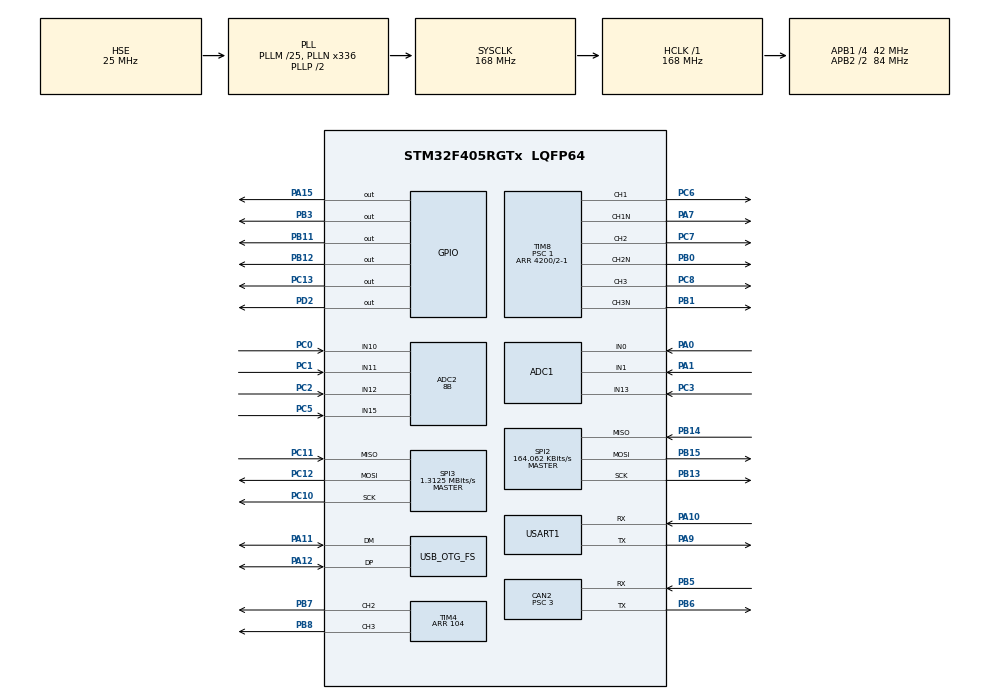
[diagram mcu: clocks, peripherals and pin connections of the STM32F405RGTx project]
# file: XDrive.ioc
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ADC1.Channel-0\#ChannelRegularConversion=ADC_CHANNEL_13
ADC1.Channel-1\#ChannelRegularConversion=ADC_CHANNEL_0
ADC1.Channel-2\#ChannelRegularConversion=ADC_CHANNEL_1
ADC1.ContinuousConvMode=DISABLE
ADC1.DMAContinuousRequests=ENABLE
ADC1.ExternalTrigConv=ADC_EXTERNALTRIGCONV_T8_TRGO
ADC1.ExternalTrigConvEdge=ADC_EXTERNALTRIGCONVEDGE_FALLING
ADC1.InjNumberOfConversion=0
ADC1.NbrOfConversion=3
ADC1.NbrOfConversionFlag=1
ADC1.Rank-0\#ChannelRegularConversion=1
ADC1.Rank-1\#ChannelRegularConversion=2
ADC1.Rank-2\#ChannelRegularConversion=3
ADC1.SamplingTime-0\#ChannelRegularConversion=ADC_SAMPLETIME_3CYCLES
ADC1.SamplingTime-1\#ChannelRegularConversion=ADC_SAMPLETIME_3CYCLES
ADC1.SamplingTime-2\#ChannelRegularConversion=ADC_SAMPLETIME_3CYCLES
ADC1.master=1
ADC2.Channel-0\#ChannelRegularConversion=ADC_CHANNEL_10
ADC2.Channel-1\#ChannelRegularConversion=ADC_CHANNEL_11
ADC2.Channel-2\#ChannelRegularConversion=ADC_CHANNEL_12
ADC2.Channel-3\#ChannelRegularConversion=ADC_CHANNEL_15
ADC2.ClockPrescaler=ADC_CLOCK_SYNC_PCLK_DIV4
ADC2.ContinuousConvMode=DISABLE
ADC2.DMAContinuousRequests=ENABLE
ADC2.NbrOfConversion=4
ADC2.NbrOfConversionFlag=1
ADC2.Rank-0\#ChannelRegularConversion=1
ADC2.Rank-1\#ChannelRegularConversion=2
ADC2.Rank-2\#ChannelRegularConversion=3
ADC2.Rank-3\#ChannelRegularConversion=4
ADC2.Resolution=ADC_RESOLUTION_8B
ADC2.SamplingTime-0\#ChannelRegularConversion=ADC_SAMPLETIME_3CYCLES
ADC2.SamplingTime-1\#ChannelRegularConversion=ADC_SAMPLETIME_3CYCLES
ADC2.SamplingTime-2\#ChannelRegularConversion=ADC_SAMPLETIME_3CYCLES
ADC2.SamplingTime-3\#ChannelRegularConversion=ADC_SAMPLETIME_3CYCLES
ADC2.ScanConvMode=ENABLE
CAN2.ABOM=DISABLE
CAN2.AWUM=DISABLE
CAN2.BS1=CAN_BS1_9TQ
CAN2.BS2=CAN_BS2_4TQ
CAN2.CalculateBaudRate=1000000
CAN2.CalculateTimeBit=1000
CAN2.CalculateTimeQuantum=71.42857142857143
CAN2.Mode=CAN_MODE_NORMAL
CAN2.Prescaler=3
CAN2.TXFP=DISABLE
Dma.ADC1.2.Direction=DMA_PERIPH_TO_MEMORY
Dma.ADC1.2.FIFOMode=DMA_FIFOMODE_DISABLE
Dma.ADC1.2.Instance=DMA2_Stream0
Dma.ADC1.2.MemDataAlignment=DMA_MDATAALIGN_HALFWORD
Dma.ADC1.2.MemInc=DMA_MINC_ENABLE
Dma.ADC1.2.Mode=DMA_CIRCULAR
Dma.ADC1.2.PeriphDataAlignment=DMA_PDATAALIGN_HALFWORD
Dma.ADC1.2.PeriphInc=DMA_PINC_DISABLE
Dma.ADC1.2.Priority=DMA_PRIORITY_HIGH
Dma.ADC2.7.Direction=DMA_PERIPH_TO_MEMORY
Dma.ADC2.7.FIFOMode=DMA_FIFOMODE_DISABLE
Dma.ADC2.7.Instance=DMA2_Stream2
Dma.ADC2.7.MemDataAlignment=DMA_MDATAALIGN_BYTE
Dma.ADC2.7.MemInc=DMA_MINC_ENABLE
Dma.ADC2.7.Mode=DMA_NORMAL
Dma.ADC2.7.PeriphDataAlignment=DMA_PDATAALIGN_BYTE
Dma.ADC2.7.PeriphInc=DMA_PINC_DISABLE
Dma.ADC2.7.Priority=DMA_PRIORITY_LOW
Dma.Request0=USART1_TX
Dma.Request1=USART1_RX
Dma.Request2=ADC1
Dma.Request3=SPI3_RX
Dma.Request4=SPI3_TX
Dma.Request5=TIM4_CH2
Dma.Request6=TIM4_CH3
Dma.Request7=ADC2
Dma.SPI3_RX.3.Direction=DMA_PERIPH_TO_MEMORY
Dma.SPI3_RX.3.FIFOMode=DMA_FIFOMODE_DISABLE
Dma.SPI3_RX.3.Instance=DMA1_Stream0
Dma.SPI3_RX.3.MemDataAlignment=DMA_MDATAALIGN_HALFWORD
Dma.SPI3_RX.3.MemInc=DMA_MINC_ENABLE
Dma.SPI3_RX.3.Mode=DMA_NORMAL
Dma.SPI3_RX.3.PeriphDataAlignment=DMA_PDATAALIGN_HALFWORD
Dma.SPI3_RX.3.PeriphInc=DMA_PINC_DISABLE
Dma.SPI3_RX.3.Priority=DMA_PRIORITY_HIGH
Dma.SPI3_TX.4.Direction=DMA_MEMORY_TO_PERIPH
Dma.SPI3_TX.4.FIFOMode=DMA_FIFOMODE_DISABLE
Dma.SPI3_TX.4.Instance=DMA1_Stream5
Dma.SPI3_TX.4.MemDataAlignment=DMA_MDATAALIGN_HALFWORD
Dma.SPI3_TX.4.MemInc=DMA_MINC_ENABLE
Dma.SPI3_TX.4.Mode=DMA_NORMAL
Dma.SPI3_TX.4.PeriphDataAlignment=DMA_PDATAALIGN_HALFWORD
Dma.SPI3_TX.4.PeriphInc=DMA_PINC_DISABLE
Dma.SPI3_TX.4.Priority=DMA_PRIORITY_HIGH
Dma.TIM4_CH2.5.Direction=DMA_MEMORY_TO_PERIPH
Dma.TIM4_CH2.5.FIFOMode=DMA_FIFOMODE_DISABLE
Dma.TIM4_CH2.5.Instance=DMA1_Stream3
Dma.TIM4_CH2.5.MemDataAlignment=DMA_MDATAALIGN_WORD
Dma.TIM4_CH2.5.MemInc=DMA_MINC_ENABLE
Dma.TIM4_CH2.5.Mode=DMA_NORMAL
Dma.TIM4_CH2.5.PeriphDataAlignment=DMA_PDATAALIGN_WORD
Dma.TIM4_CH2.5.PeriphInc=DMA_PINC_DISABLE
Dma.TIM4_CH2.5.Priority=DMA_PRIORITY_LOW
Dma.TIM4_CH3.6.Direction=DMA_MEMORY_TO_PERIPH
Dma.TIM4_CH3.6.FIFOMode=DMA_FIFOMODE_DISABLE
Dma.TIM4_CH3.6.Instance=DMA1_Stream7
Dma.TIM4_CH3.6.MemDataAlignment=DMA_MDATAALIGN_WORD
Dma.TIM4_CH3.6.MemInc=DMA_MINC_ENABLE
Dma.TIM4_CH3.6.Mode=DMA_NORMAL
Dma.TIM4_CH3.6.PeriphDataAlignment=DMA_PDATAALIGN_WORD
Dma.TIM4_CH3.6.PeriphInc=DMA_PINC_DISABLE
Dma.TIM4_CH3.6.Priority=DMA_PRIORITY_LOW
Dma.USART1_RX.1.Direction=DMA_PERIPH_TO_MEMORY
Dma.USART1_RX.1.FIFOMode=DMA_FIFOMODE_DISABLE
Dma.USART1_RX.1.Instance=DMA2_Stream5
Dma.USART1_RX.1.MemDataAlignment=DMA_MDATAALIGN_BYTE
Dma.USART1_RX.1.MemInc=DMA_MINC_ENABLE
Dma.USART1_RX.1.Mode=DMA_NORMAL
Dma.USART1_RX.1.PeriphDataAlignment=DMA_PDATAALIGN_BYTE
Dma.USART1_RX.1.PeriphInc=DMA_PINC_DISABLE
Dma.USART1_RX.1.Priority=DMA_PRIORITY_LOW
Dma.USART1_TX.0.Direction=DMA_MEMORY_TO_PERIPH
Dma.USART1_TX.0.FIFOMode=DMA_FIFOMODE_DISABLE
Dma.USART1_TX.0.Instance=DMA2_Stream7
Dma.USART1_TX.0.MemDataAlignment=DMA_MDATAALIGN_BYTE
Dma.USART1_TX.0.MemInc=DMA_MINC_ENABLE
Dma.USART1_TX.0.Mode=DMA_NORMAL
Dma.USART1_TX.0.PeriphDataAlignment=DMA_PDATAALIGN_BYTE
Dma.USART1_TX.0.PeriphInc=DMA_PINC_DISABLE
Dma.USART1_TX.0.Priority=DMA_PRIORITY_LOW
Mcu.Family=STM32F4
Mcu.Name=STM32F405RGTx
Mcu.Package=LQFP64
NVIC.CAN2_RX0_IRQn=true\:0\:0\:true\:false\:true\:true\:true\:true
NVIC.DMA1_Stream0_IRQn=true\:0\:0\:false\:false\:true\:false\:true\:true
NVIC.DMA1_Stream3_IRQn=true\:0\:0\:false\:false\:true\:false\:true\:true
NVIC.DMA1_Stream5_IRQn=true\:0\:0\:false\:false\:true\:false\:true\:true
NVIC.DMA1_Stream7_IRQn=true\:0\:0\:false\:false\:true\:false\:true\:true
NVIC.DMA2_Stream0_IRQn=true\:0\:0\:false\:false\:true\:false\:true\:true
NVIC.DMA2_Stream2_IRQn=true\:0\:0\:false\:false\:true\:false\:true\:true
NVIC.DMA2_Stream5_IRQn=true\:0\:0\:false\:false\:true\:false\:true\:true
NVIC.DMA2_Stream7_IRQn=true\:0\:0\:false\:false\:true\:false\:true\:true
NVIC.OTG_FS_IRQn=true\:0\:0\:false\:false\:true\:false\:true\:true
NVIC.PriorityGroup=NVIC_PRIORITYGROUP_4
NVIC.SPI3_IRQn=true\:0\:0\:false\:false\:true\:true\:true\:true
NVIC.TIM8_UP_TIM13_IRQn=true\:10\:0\:true\:false\:true\:true\:true\:true
NVIC.USART1_IRQn=true\:0\:0\:false\:false\:true\:true\:true\:true
PA0-WKUP.Signal=ADCx_IN0
PA1.Signal=ADCx_IN1
PA10.Mode=Asynchronous
PA10.Signal=USART1_RX
PA11.Mode=Device_Only
PA11.Signal=USB_OTG_FS_DM
PA12.Mode=Device_Only
PA12.Signal=USB_OTG_FS_DP
PA13.Mode=Serial_Wire
PA13.Signal=SYS_JTMS-SWDIO
PA14.Mode=Serial_Wire
PA14.Signal=SYS_JTCK-SWCLK
PA15.GPIO_PuPd=GPIO_PULLUP
PA15.GPIO_Speed=GPIO_SPEED_FREQ_MEDIUM
PA15.PinState=GPIO_PIN_SET
PA15.Signal=GPIO_Output
PA7.Mode=PWM Generation1 CH1 CH1N
PA7.Signal=TIM8_CH1N
PA9.Mode=Asynchronous
PA9.Signal=USART1_TX
PB0.Mode=PWM Generation2 CH2 CH2N
PB0.Signal=TIM8_CH2N
PB1.Mode=PWM Generation3 CH3 CH3N
PB1.Signal=TIM8_CH3N
PB11.Signal=GPIO_Output
PB12.GPIO_PuPd=GPIO_PULLUP
PB12.GPIO_Speed=GPIO_SPEED_FREQ_MEDIUM
PB12.PinState=GPIO_PIN_SET
PB12.Signal=GPIO_Output
PB13.GPIO_Speed=GPIO_SPEED_FREQ_HIGH
PB13.Mode=Full_Duplex_Master
PB13.Signal=SPI2_SCK
PB14.GPIO_Speed=GPIO_SPEED_FREQ_HIGH
PB14.Mode=Full_Duplex_Master
PB14.Signal=SPI2_MISO
PB15.GPIO_Speed=GPIO_SPEED_FREQ_HIGH
PB15.Mode=Full_Duplex_Master
PB15.Signal=SPI2_MOSI
PB3.Signal=GPIO_Output
PB5.GPIO_PuPd=GPIO_PULLUP
PB5.Mode=CAN_Activate
PB5.Signal=CAN2_RX
PB6.Mode=CAN_Activate
PB6.Signal=CAN2_TX
PB7.Signal=S_TIM4_CH2
PB8.Signal=S_TIM4_CH3
PC0.Signal=ADCx_IN10
PC1.Signal=ADCx_IN11
PC10.GPIO_Speed=GPIO_SPEED_FREQ_MEDIUM
PC10.Mode=Full_Duplex_Master
PC10.Signal=SPI3_SCK
PC11.GPIO_PuPd=GPIO_PULLUP
PC11.GPIO_Speed=GPIO_SPEED_FREQ_MEDIUM
PC11.Mode=Full_Duplex_Master
PC11.Signal=SPI3_MISO
PC12.GPIO_Speed=GPIO_SPEED_FREQ_MEDIUM
PC12.Mode=Full_Duplex_Master
PC12.Signal=SPI3_MOSI
PC13-ANTI_TAMP.Signal=GPIO_Output
PC2.Signal=ADCx_IN12
PC3.Signal=ADCx_IN13
PC5.Signal=ADCx_IN15
PC6.Signal=S_TIM8_CH1
PC7.Signal=S_TIM8_CH2
PC8.Signal=S_TIM8_CH3
PD2.Signal=GPIO_Output
PH0-OSC_IN.Mode=HSE-External-Oscillator
PH0-OSC_IN.Signal=RCC_OSC_IN
PH1-OSC_OUT.Mode=HSE-External-Oscillator
PH1-OSC_OUT.Signal=RCC_OSC_OUT
ProjectManager.HeapSize=0x400
ProjectManager.StackSize=0x400
ProjectManager.TargetToolchain=MDK-ARM V5.32
RCC.48MHZClocksFreq_Value=48000000
RCC.AHBFreq_Value=168000000
RCC.APB1CLKDivider=RCC_HCLK_DIV4
RCC.APB1Freq_Value=42000000
RCC.APB1TimFreq_Value=84000000
RCC.APB2CLKDivider=RCC_HCLK_DIV2
RCC.APB2Freq_Value=84000000
RCC.APB2TimFreq_Value=168000000
RCC.CortexFreq_Value=168000000
RCC.HCLKFreq_Value=168000000
RCC.HSE_VALUE=25000000
RCC.HSI_VALUE=16000000
RCC.LSE_VALUE=32768
RCC.PLLM=25
RCC.PLLN=336
RCC.PLLQ=7
RCC.SYSCLKFreq_VALUE=168000000
RCC.SYSCLKSource=RCC_SYSCLKSOURCE_PLLCLK
RCC.VCOOutputFreq_Value=336000000
SH.ADCx_IN0.0=ADC1_IN0,IN0
SH.ADCx_IN1.0=ADC1_IN1,IN1
SH.ADCx_IN10.0=ADC2_IN10,IN10
SH.ADCx_IN11.0=ADC2_IN11,IN11
SH.ADCx_IN12.0=ADC2_IN12,IN12
SH.ADCx_IN13.0=ADC1_IN13,IN13
SH.ADCx_IN15.0=ADC2_IN15,IN15
SH.S_TIM4_CH2.0=TIM4_CH2,PWM Generation2 CH2
SH.S_TIM4_CH3.0=TIM4_CH3,PWM Generation3 CH3
SH.S_TIM8_CH1.0=TIM8_CH1,PWM Generation1 CH1 CH1N
SH.S_TIM8_CH2.0=TIM8_CH2,PWM Generation2 CH2 CH2N
SH.S_TIM8_CH3.0=TIM8_CH3,PWM Generation3 CH3 CH3N
SPI2.BaudRatePrescaler=SPI_BAUDRATEPRESCALER_256
SPI2.CLKPhase=SPI_PHASE_2EDGE
SPI2.CLKPolarity=SPI_POLARITY_HIGH
SPI2.CalculateBaudRate=164.062 KBits/s
SPI2.DataSize=SPI_DATASIZE_8BIT
SPI2.Direction=SPI_DIRECTION_2LINES
SPI2.Mode=SPI_MODE_MASTER
SPI2.VirtualType=VM_MASTER
SPI3.BaudRatePrescaler=SPI_BAUDRATEPRESCALER_32
SPI3.CLKPhase=SPI_PHASE_2EDGE
SPI3.CLKPolarity=SPI_POLARITY_HIGH
SPI3.CalculateBaudRate=1.3125 MBits/s
SPI3.DataSize=SPI_DATASIZE_16BIT
SPI3.Direction=SPI_DIRECTION_2LINES
SPI3.Mode=SPI_MODE_MASTER
SPI3.VirtualType=VM_MASTER
STMicroelectronics.X-CUBE-ALGOBUILD.1.4.0.LibraryCcDSPOoLibraryJjDSPOoLibrary=true
TIM4.Channel-PWM\ Generation2\ CH2=TIM_CHANNEL_2
TIM4.Channel-PWM\ Generation3\ CH3=TIM_CHANNEL_3
TIM4.Period=104
TIM8.AutoReloadPreload=TIM_AUTORELOAD_PRELOAD_ENABLE
TIM8.Channel-PWM\ Generation1\ CH1\ CH1N=TIM_CHANNEL_1
TIM8.Channel-PWM\ Generation2\ CH2\ CH2N=TIM_CHANNEL_2
TIM8.Channel-PWM\ Generation3\ CH3\ CH3N=TIM_CHANNEL_3
TIM8.Channel-PWM\ Generation4\ No\ Output=TIM_CHANNEL_4
TIM8.CounterMode=TIM_COUNTERMODE_CENTERALIGNED1
TIM8.DeadTime=4
TIM8.OCMode_PWM-PWM\ Generation4\ No\ Output=TIM_OCMODE_PWM2
TIM8.Period=4200/2-1
TIM8.Prescaler=1
TIM8.RepetitionCounter=0
TIM8.TIM_MasterOutputTrigger=TIM_TRGO_OC4REF
TIM8.TIM_MasterSlaveMode=TIM_MASTERSLAVEMODE_ENABLE
USART1.VirtualMode=VM_ASYNC
USB_DEVICE.APP_RX_DATA_SIZE-CDC_FS=512
USB_DEVICE.APP_TX_DATA_SIZE-CDC_FS=512
USB_DEVICE.CLASS_NAME_FS=CDC
USB_DEVICE.MANUFACTURER_STRING-CDC_FS=wxd
USB_DEVICE.PID_CDC_FS=22337
USB_DEVICE.PRODUCT_STRING_CDC_FS=XDr-P
USB_DEVICE.USBD_MAX_STR_DESC_SIZ-CDC_FS=128
USB_DEVICE.VirtualMode-CDC_FS=Cdc
USB_DEVICE.VirtualModeFS=Cdc_FS
USB_OTG_FS.VirtualMode=Device_Only
VP_STMicroelectronics.X-CUBE-ALGOBUILD_VS_DSPOoLibraryJjLibrary_1.4.0_1.4.0.Mode=DSPOoLibraryJjLibrary
VP_TIM4_VS_ClockSourceINT.Mode=Internal
VP_TIM8_VS_ClockSourceINT.Mode=Internal
VP_TIM8_VS_no_output4.Mode=PWM Generation4 No Output
VP_USB_DEVICE_VS_USB_DEVICE_CDC_FS.Mode=CDC_FS
board=custom

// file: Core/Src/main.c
/* USER CODE BEGIN Header */
/**
 ******************************************************************************
 * @file           : main.c
 * @brief          : Main program body
 ******************************************************************************
 * @attention
 *
 * Copyright (c) 2025 STMicroelectronics.
 * All rights reserved.
 *
 * This software is licensed under terms that can be found in the LICENSE file
 * in the root directory of this software component.
 * If no LICENSE file comes with this software, it is provided AS-IS.
 *
 ******************************************************************************
 */
/* USER CODE END Header */
#include "main.h"
#include "adc.h"
#include "can.h"
#include "dma.h"
#include "spi.h"
#include "tim.h"
#include "usart.h"
#include "usb_device.h"
#include "gpio.h"

/* USER CODE BEGIN Includes */
#include "system_statemachine.h"

#ifdef __DEBUG__
#include "math_fast.h"

u32 time_while_zero = 0;
u32 time_while_T = 0;
#endif
/* USER CODE END Includes */

void SystemClock_Config(void);

int main(void)
{

  /* USER CODE BEGIN 1 */
//  SCB->CPACR |= (3UL << 20) | (3UL << 22); // Enable CP10 and CP11 for full access
//  __DSB();                                 // 数据同步屏障
//  __ISB();   	// 指令同步屏障

	  /* 告诉 CPU，中断向量表不在 0x08000000，而在 0x08004000 */
  /* 0x08004000 是你的 App 起始地址，需与 CubeMX 设置一致 */
  SCB->VTOR = FLASH_BASE | 0x4000;
	__enable_irq(); //bl中关闭了全局中断
  /* USER CODE END 1 */

  /* MCU Configuration--------------------------------------------------------*/

  /* Reset of all peripherals, Initializes the Flash interface and the Systick. */
  HAL_Init();

  /* Configure the system clock */
  SystemClock_Config();

  /* Initialize all configured peripherals */
  MX_GPIO_Init();
  MX_DMA_Init();
  MX_SPI2_Init();
  MX_TIM4_Init();
  MX_ADC1_Init();
  MX_ADC2_Init();
  MX_CAN2_Init();
  MX_SPI3_Init();
  MX_USART1_UART_Init();
  MX_TIM8_Init();
	u32 scb_vtor=SCB->VTOR ;
	HAL_Delay(3);
  MX_USB_DEVICE_Init();

  /* Infinite loop */
  while (1)
  {

    /* USER CODE BEGIN 3 */
    SystemStateMachine_MainLoop();

#ifdef __DEBUG__ //***********调试************

    time_while_T = HAL_GetTick_us() - time_while_zero;
    time_while_zero = HAL_GetTick_us();
#endif
  }
  /* USER CODE END 3 */
}

void SystemClock_Config(void)
{
  RCC_OscInitTypeDef RCC_OscInitStruct = {0};
  RCC_ClkInitTypeDef RCC_ClkInitStruct = {0};

  /** Configure the main internal regulator output voltage
  */
  __HAL_RCC_PWR_CLK_ENABLE();
  __HAL_PWR_VOLTAGESCALING_CONFIG(PWR_REGULATOR_VOLTAGE_SCALE1);

  /** Initializes the RCC Oscillators according to the specified parameters
  * in the RCC_OscInitTypeDef structure.
  */
  RCC_OscInitStruct.OscillatorType = RCC_OSCILLATORTYPE_HSE;
  RCC_OscInitStruct.HSEState = RCC_HSE_ON;
  RCC_OscInitStruct.PLL.PLLState = RCC_PLL_ON;
  RCC_OscInitStruct.PLL.PLLSource = RCC_PLLSOURCE_HSE;
  RCC_OscInitStruct.PLL.PLLM = 25;
  RCC_OscInitStruct.PLL.PLLN = 336;
  RCC_OscInitStruct.PLL.PLLP = RCC_PLLP_DIV2;
  RCC_OscInitStruct.PLL.PLLQ = 7;
  if (HAL_RCC_OscConfig(&RCC_OscInitStruct) != HAL_OK)
  {
    Error_Handler();
  }

  /** Initializes the CPU, AHB and APB buses clocks
  */
  RCC_ClkInitStruct.ClockType = RCC_CLOCKTYPE_HCLK|RCC_CLOCKTYPE_SYSCLK
                              |RCC_CLOCKTYPE_PCLK1|RCC_CLOCKTYPE_PCLK2;
  RCC_ClkInitStruct.SYSCLKSource = RCC_SYSCLKSOURCE_PLLCLK;
  RCC_ClkInitStruct.AHBCLKDivider = RCC_SYSCLK_DIV1;
  RCC_ClkInitStruct.APB1CLKDivider = RCC_HCLK_DIV4;
  RCC_ClkInitStruct.APB2CLKDivider = RCC_HCLK_DIV2;

  if (HAL_RCC_ClockConfig(&RCC_ClkInitStruct, FLASH_LATENCY_5) != HAL_OK)
  {
    Error_Handler();
  }
}

/* USER CODE BEGIN 4 */
u8 Error_Index = 0;

/* USER CODE END 4 */

void Error_Handler(void)
{
  /* USER CODE BEGIN Error_Handler_Debug */
  /* User can add his own implementation to report the HAL error return state */
  __disable_irq();
  fSystemStateUpdata(SYSTEM_ERROR);
  // while (1)
  // {

  // }
  /* USER CODE END Error_Handler_Debug */
}
